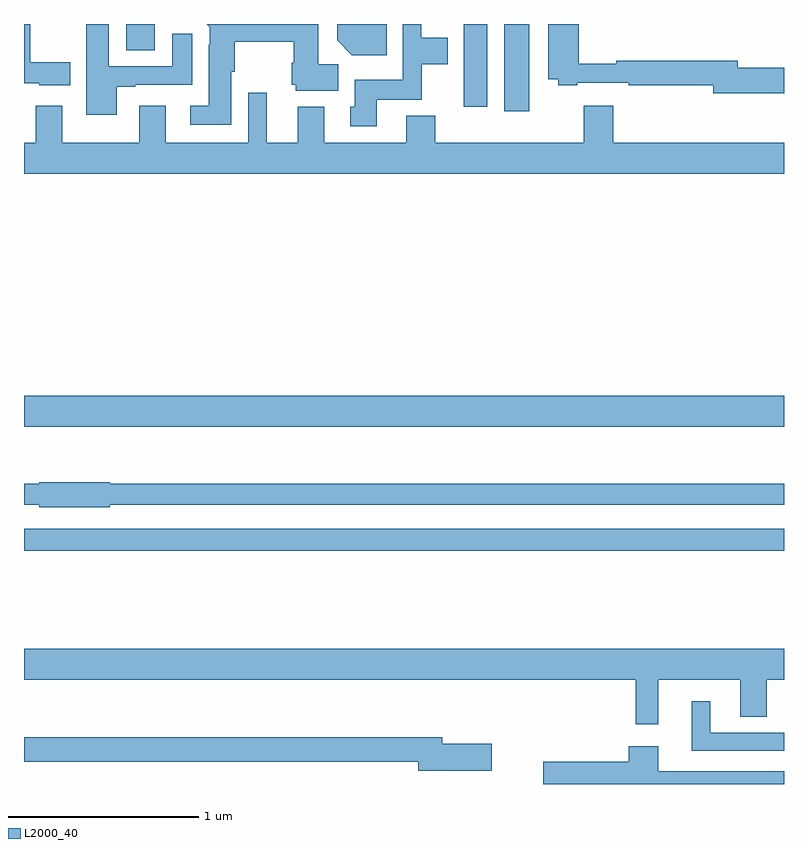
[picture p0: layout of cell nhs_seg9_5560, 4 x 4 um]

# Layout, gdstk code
import gdstk
lib = gdstk.Library(unit=1e-6, precision=1e-09)
def R(c, l, rs):  # rectangles x0, y0, x1, y1
    for r in rs: c.add(gdstk.rectangle(r[:2], r[2:], *l))
def P(c, l, *ps):  # polygons
    for p in ps: c.add(gdstk.Polygon(p, *l))
L2000_40 = (2000, 40)

nhs_seg9_5560 = lib.new_cell('nhs_seg9_5560')
R(nhs_seg9_5560, L2000_40, [(433,1235.728,437,1235.844), (433,1236.38,437,1236.544), (435.527,1238.04,435.658,1238.5), (435.314,1238.064,435.439,1238.5), (433.538,1238.362,433.687,1238.5)])
P(nhs_seg9_5560, L2000_40, [(437,1238.27),(436.756,1238.27),(436.756,1238.306),(436.118,1238.306),(436.118,1238.291),(435.92,1238.291),(435.92,1238.5),(435.758,1238.5),(435.758,1238.21),(435.813,1238.21),(435.813,1238.178),(435.913,1238.178),(435.913,1238.19),(436.183,1238.19),(436.183,1238.178),(436.628,1238.178),(436.628,1238.135),(437,1238.135)],
  [(433.243,1238.299),(433.034,1238.299),(433.034,1238.5),(433,1238.5),(433,1238.189),(433.08,1238.189),(433.08,1238.177),(433.243,1238.177)],
  [(433.489,1238.169),(433.585,1238.169),(433.585,1238.181),(433.885,1238.181),(433.885,1238.449),(433.781,1238.449),(433.781,1238.277),(433.447,1238.277),(433.447,1238.5),(433.328,1238.5),(433.328,1238.022),(433.489,1238.022)],
  [(434.909,1238.5),(434.648,1238.5),(434.648,1238.414),(434.726,1238.336),(434.909,1238.336)],
  [(434.092,1238.25),(434.11,1238.25),(434.11,1238.407),(434.419,1238.407),(434.419,1238.295),(434.408,1238.295),(434.408,1238.181),(434.43,1238.181),(434.43,1238.15),(434.653,1238.15),(434.653,1238.288),(434.548,1238.288),(434.548,1238.5),(433.961,1238.5),(433.977,1238.484),(433.977,1238.39),(433.973,1238.39),(433.973,1238.071),(433.875,1238.071),(433.875,1237.97),(434.092,1237.97)],
  [(434.857,1238.102),(435.093,1238.102),(435.093,1238.288),(435.229,1238.288),(435.229,1238.428),(435.09,1238.428),(435.09,1238.5),(434.994,1238.5),(434.994,1238.206),(434.741,1238.206),(434.741,1238.064),(434.717,1238.064),(434.717,1237.962),(434.857,1237.962)],
  [(437,1237.876),(436.1,1237.876),(436.1,1238.071),(435.947,1238.071),(435.947,1237.876),(435.164,1237.876),(435.164,1238.017),(435.011,1238.017),(435.011,1237.876),(434.581,1237.876),(434.581,1238.065),(434.441,1238.065),(434.441,1237.876),(434.278,1237.876),(434.278,1238.137),(434.181,1238.137),(434.181,1237.876),(433.747,1237.876),(433.747,1238.071),(433.607,1238.071),(433.607,1237.876),(433.201,1237.876),(433.201,1238.071),(433.061,1238.071),(433.061,1237.876),(433,1237.876),(433,1237.712),(437,1237.712)],
  [(433.452,1235.97),(437,1235.97),(437,1236.079),(433.452,1236.079),(433.452,1236.087),(433.08,1236.087),(433.08,1236.079),(433,1236.079),(433,1235.97),(433.08,1235.97),(433.08,1235.957),(433.452,1235.957)],
  [(436.337,1235.048),(436.769,1235.048),(436.769,1234.855),(436.909,1234.855),(436.909,1235.048),(437,1235.048),(437,1235.212),(433,1235.212),(433,1235.048),(436.219,1235.048),(436.219,1234.815),(436.337,1234.815)],
  [(437,1234.77),(436.612,1234.77),(436.612,1234.936),(436.514,1234.936),(436.514,1234.674),(437,1234.674)],
  [(435.463,1234.713),(435.202,1234.713),(435.202,1234.747),(433,1234.747),(433,1234.618),(435.074,1234.618),(435.074,1234.571),(435.463,1234.571)],
  [(437,1234.567),(436.954,1234.567),(436.954,1234.566),(436.339,1234.566),(436.339,1234.699),(436.184,1234.699),(436.184,1234.617),(435.732,1234.617),(435.732,1234.5),(437,1234.5)])

lib.write_gds('nhs_seg9_5560.gds')
